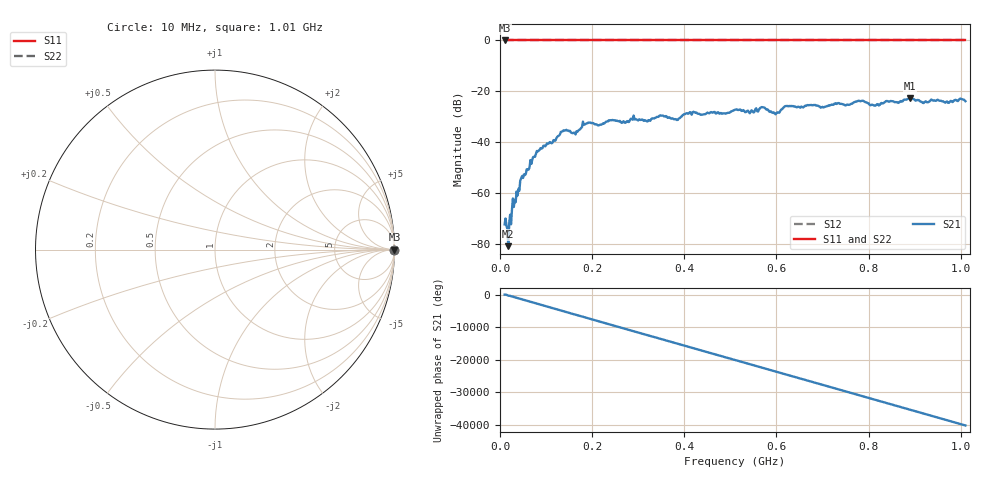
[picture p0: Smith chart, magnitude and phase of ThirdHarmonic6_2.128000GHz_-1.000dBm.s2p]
! 8/17/2025 1:26:07 AM
! C:\ANRITSUVNA\TEMP\TEMP.S2P
! CHANNEL.1
! TR.MEASUREMENT
! RAW.DATA
! RF.CORRECTION.OFF
! AVERAGING.OFF
! IF.BANDWIDTH: 5KHZ
! SWEEPTYPE:  FREQ.SWEEP(Linear)
! Reference Plane Port Info
! PORT:  PORT1  PORT2
! DISTANCE:  0  m  0  m
! TIME:  0  s  0  s
! PHASE.OFFSET:  0  deg.  0  deg.
! LOSS:  0  dB  0  dB
! REF.LOSS:  0  dB  0  dB
! REF.FREQ:  0  Hz  0  Hz
! Power Info
! POWER:  -20  dBm  -20  dBm
! EFF.POWER:  -20  dBm  -20  dBm
! SOURCE.ATTEN:  0  dB  0  dB
! TEST.ATTEN:  0  dB  0  dB
# GHZ S RI R 50.0
! FREQ.GHZ  S11RE  S11IM  S21RE  S21IM  S12RE  S12IM  S22RE  S22IM
!; PortSelection: Port_12
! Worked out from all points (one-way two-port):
!   501 points, 10 MHz to 1.01 GHz, reference 50 ohm
!   highest |S21| = -22.74 dB at 890 MHz (marker M1); lowest = -80.7 dB at 18 MHz (marker M2)
!   lowest |S11| = 0.0 dB at 10 MHz (marker M3)
!   |S11| at or under -10 dB: nowhere
!   |S22| runs from 0.0 to 0.0 dB; largest |S21 - S12| = 1.1
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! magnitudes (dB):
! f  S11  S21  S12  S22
! 10 MHz  0.0  -72.2  0.0  0.0
! 18 MHz  0.0  -80.7  0.0  0.0
! 22 MHz  0.0  -68.4  0.0  0.0
! 24 MHz  0.0  -72.2  0.0  0.0
! 32 MHz  0.0  -62.5  0.0  0.0
! 48 MHz  0.0  -53.2  0.0  0.0
! 76 MHz  0.0  -45.7  0.0  0.0
! 136 MHz  0.0  -35.7  0.0  0.0
! 160 MHz  0.0  -36.2  0.0  0.0
! 178 MHz  0.0  -33.9  0.0  0.0
! 344 MHz  0.0  -30.0  0.0  0.0
! 382 MHz  0.0  -31.0  0.0  0.0
! 410 MHz  0.0  -28.6  0.0  0.0
! 510 MHz  0.0  -27.2  0.0  0.0
! 546 MHz  0.0  -27.4  0.0  0.0
! 570 MHz  0.0  -26.2  0.0  0.0
! 600 MHz  0.0  -28.5  0.0  0.0
! 620 MHz  0.0  -25.8  0.0  0.0
! 678 MHz  0.0  -25.5  0.0  0.0
! 844 MHz  0.0  -24.0  0.0  0.0
! 890 MHz  0.0  -22.7  0.0  0.0
! 1.01 GHz  0.0  -23.8  0.0  0.0
